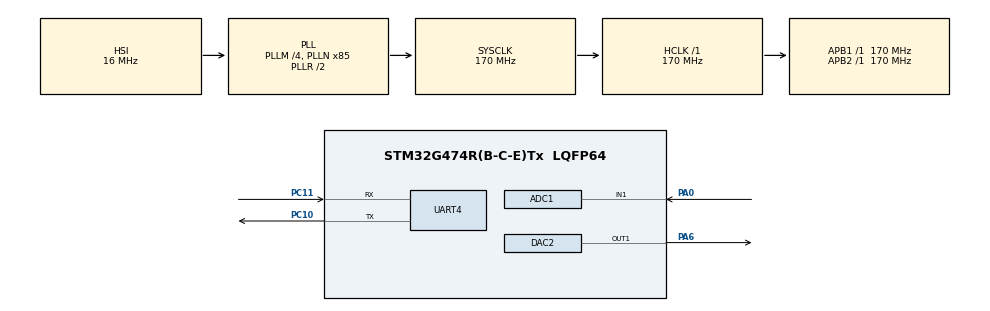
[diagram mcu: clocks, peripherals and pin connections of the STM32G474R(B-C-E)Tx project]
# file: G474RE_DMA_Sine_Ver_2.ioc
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ADC1.Channel-1\#ChannelRegularConversion=ADC_CHANNEL_1
ADC1.ContinuousConvMode=ENABLE
ADC1.DMAContinuousRequests=ENABLE
ADC1.ExternalTrigConv=ADC_EXTERNALTRIG_T2_TRGO
ADC1.NbrOfConversionFlag=1
ADC1.OffsetNumber-1\#ChannelRegularConversion=ADC_OFFSET_NONE
ADC1.Rank-1\#ChannelRegularConversion=1
ADC1.SamplingTime-1\#ChannelRegularConversion=ADC_SAMPLETIME_47CYCLES_5
ADC1.master=1
DAC2.DAC_Trigger_OUT1-DAC_OUT1_ExtAndInt=DAC_TRIGGER_T2_TRGO
Dma.ADC1.1.Direction=DMA_PERIPH_TO_MEMORY
Dma.ADC1.1.EventEnable=DISABLE
Dma.ADC1.1.Instance=DMA1_Channel2
Dma.ADC1.1.MemDataAlignment=DMA_MDATAALIGN_HALFWORD
Dma.ADC1.1.MemInc=DMA_MINC_ENABLE
Dma.ADC1.1.Mode=DMA_CIRCULAR
Dma.ADC1.1.PeriphDataAlignment=DMA_PDATAALIGN_HALFWORD
Dma.ADC1.1.PeriphInc=DMA_PINC_DISABLE
Dma.ADC1.1.Polarity=HAL_DMAMUX_REQ_GEN_RISING
Dma.ADC1.1.Priority=DMA_PRIORITY_MEDIUM
Dma.ADC1.1.RequestNumber=1
Dma.ADC1.1.SignalID=NONE
Dma.ADC1.1.SyncEnable=DISABLE
Dma.ADC1.1.SyncPolarity=HAL_DMAMUX_SYNC_NO_EVENT
Dma.ADC1.1.SyncRequestNumber=1
Dma.ADC1.1.SyncSignalID=NONE
Dma.DAC2_CH1.0.Direction=DMA_MEMORY_TO_PERIPH
Dma.DAC2_CH1.0.EventEnable=DISABLE
Dma.DAC2_CH1.0.Instance=DMA1_Channel1
Dma.DAC2_CH1.0.MemDataAlignment=DMA_MDATAALIGN_HALFWORD
Dma.DAC2_CH1.0.MemInc=DMA_MINC_ENABLE
Dma.DAC2_CH1.0.Mode=DMA_CIRCULAR
Dma.DAC2_CH1.0.PeriphDataAlignment=DMA_PDATAALIGN_WORD
Dma.DAC2_CH1.0.PeriphInc=DMA_PINC_DISABLE
Dma.DAC2_CH1.0.Polarity=HAL_DMAMUX_REQ_GEN_RISING
Dma.DAC2_CH1.0.Priority=DMA_PRIORITY_MEDIUM
Dma.DAC2_CH1.0.RequestNumber=1
Dma.DAC2_CH1.0.SignalID=NONE
Dma.DAC2_CH1.0.SyncEnable=DISABLE
Dma.DAC2_CH1.0.SyncPolarity=HAL_DMAMUX_SYNC_NO_EVENT
Dma.DAC2_CH1.0.SyncRequestNumber=1
Dma.DAC2_CH1.0.SyncSignalID=NONE
Dma.Request0=DAC2_CH1
Dma.Request1=ADC1
Mcu.Family=STM32G4
Mcu.Name=STM32G474R(B-C-E)Tx
Mcu.Package=LQFP64
NVIC.ADC1_2_IRQn=true\:0\:0\:false\:false\:true\:true\:true\:true
NVIC.DMA1_Channel1_IRQn=true\:0\:0\:false\:false\:true\:false\:true\:true
NVIC.DMA1_Channel2_IRQn=true\:0\:0\:false\:false\:true\:false\:true\:true
NVIC.PriorityGroup=NVIC_PRIORITYGROUP_4
PA0.Mode=IN1-Single-Ended
PA0.Signal=ADC1_IN1
PA13.Mode=Serial_Wire
PA13.Signal=SYS_JTMS-SWDIO
PA14.Mode=Serial_Wire
PA14.Signal=SYS_JTCK-SWCLK
PA6.Signal=COMP_DAC21_group
PC10.Mode=Asynchronous
PC10.Signal=UART4_TX
PC11.Mode=Asynchronous
PC11.Signal=UART4_RX
PC14-OSC32_IN.Mode=LSE-External-Oscillator
PC14-OSC32_IN.Signal=RCC_OSC32_IN
PC15-OSC32_OUT.Mode=LSE-External-Oscillator
PC15-OSC32_OUT.Signal=RCC_OSC32_OUT
PF0-OSC_IN.Mode=HSE-External-Oscillator
PF0-OSC_IN.Signal=RCC_OSC_IN
PF1-OSC_OUT.Mode=HSE-External-Oscillator
PF1-OSC_OUT.Signal=RCC_OSC_OUT
ProjectManager.HeapSize=0x200
ProjectManager.StackSize=0x400
ProjectManager.TargetToolchain=STM32CubeIDE
RCC.ADC12Freq_Value=170000000
RCC.ADC345Freq_Value=170000000
RCC.AHBFreq_Value=170000000
RCC.APB1Freq_Value=170000000
RCC.APB1TimFreq_Value=170000000
RCC.APB2Freq_Value=170000000
RCC.APB2TimFreq_Value=170000000
RCC.CortexFreq_Value=170000000
RCC.EXTERNAL_CLOCK_VALUE=12288000
RCC.HCLKFreq_Value=170000000
RCC.HSE_VALUE=8000000
RCC.HSI48_VALUE=48000000
RCC.HSI_VALUE=16000000
RCC.PLLM=RCC_PLLM_DIV4
RCC.PLLN=85
RCC.SYSCLKFreq_VALUE=170000000
RCC.SYSCLKSource=RCC_SYSCLKSOURCE_PLLCLK
RCC.USBFreq_Value=170000000
RCC.VCOOutputFreq_Value=340000000
SH.COMP_DAC21_group.0=DAC2_OUT1,DAC_OUT1_ExtAndInt
TIM2.PeriodNoDither=265
TIM2.Prescaler=15
TIM2.TIM_MasterOutputTrigger=TIM_TRGO_UPDATE
VP_SYS_VS_DBSignals.Mode=DisableDeadBatterySignals
VP_TIM2_VS_ClockSourceINT.Mode=Internal
board=custom

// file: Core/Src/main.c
/* USER CODE END Header */

#include "main.h"

/* USER CODE BEGIN Includes */
#include <stdint.h>
#include <stdio.h>
#include <math.h>
#include <string.h>
/* USER CODE END Includes */

/* USER CODE BEGIN PTD */
#define DAC_MAX       4095
#define SAMPLE_RATE   40000      // timer triggers per second (TIM2 TRGO) ~40kHz
#define BUFFER_LEN    200        // DAC DMA buffer length (even number)

/* AFSK tones */
#define TONE_MARK     1200.0     // Hz (MARK)
#define TONE_SPACE    2400.0     // Hz (SPACE)

/* ADC / Goertzel */
#define ADC_SAMPLES   64         // number of ADC samples per Goertzel window (choose ~32..128)
#define GOERTZEL_LEN  ADC_SAMPLES

/* Toggle period for demonstration */
#define TOGGLE_MS     1000       // toggle tone every 1000 ms so you can see both on scope

/* USER CODE END PTD */

uint16_t dac_buffer[BUFFER_LEN];            // DAC circular buffer (DMA)
uint16_t adc_buffer[ADC_SAMPLES];           // ADC circular buffer (DMA)

/* continuous-phase generator state */
volatile double phase = 0.0;
volatile double phase_inc = 0.0;            // set to MARK initially below

/* last Goertzel results (expose as volatile so CubeIDE Live Expression can read them) */
volatile double last_power_mark = 0.0;
volatile double last_power_space = 0.0;
volatile uint8_t detected_tone = 0xFF; // 1 = MARK, 0 = SPACE, 0xFF = undefined/noise
volatile uint8_t goertzel_ready_flag = 0;  // main loop reads and clears

/* Goertzel coefficients */
double coeff_mark = 0.0;
double coeff_space = 0.0;

/* UART4 printing buffer */
char uart_msg[80];

/* UART4 printing buffer */
char uart_msg[80];
/* USER CODE END PD */

/* USER CODE BEGIN PM */

/* prototypes */
void InitGoertzel(void);
uint8_t GoertzelDetect(uint16_t *samples, int N);
void FillDACHalf(int offset, int length);

/* USER CODE END PM */

ADC_HandleTypeDef hadc1;
DMA_HandleTypeDef hdma_adc1;

DAC_HandleTypeDef hdac2;
DMA_HandleTypeDef hdma_dac2_ch1;

TIM_HandleTypeDef htim2;

UART_HandleTypeDef huart4;

void SystemClock_Config(void);
static void MX_GPIO_Init(void);
static void MX_DMA_Init(void);
static void MX_TIM2_Init(void);
static void MX_DAC2_Init(void);
static void MX_ADC1_Init(void);
static void MX_UART4_Init(void);

/* USER CODE BEGIN 0 */

/* Fill a half of dac_buffer (offset can be 0 or BUFFER_LEN/2) in continuous-phase mode.
 This keeps phase continuous across calls. Must be called from DAC DMA callbacks. */
void FillDACHalf(int offset, int length) {
	// local copy of phase and phase_inc for speed (volatile updated)
	double p = phase;
	double inc = phase_inc;

	for (int i = 0; i < length; ++i) {
		double s = sin(p);
		uint16_t sample = (uint16_t) ((s + 1.0) * (DAC_MAX / 2.0));
		dac_buffer[offset + i] = sample;

		p += inc;
		if (p >= 2.0 * M_PI)
			p -= 2.0 * M_PI;
		if (p < 0.0)
			p += 2.0 * M_PI;
	}

	// write back the phase atomically (volatile)
	phase = p;
}

/* Goertzel init — compute 2*cos(omega) coefficients for each target tone */
void InitGoertzel(void) {
	double omega_mark = 2.0 * M_PI * (double) TONE_MARK / (double) SAMPLE_RATE;
	double omega_space = 2.0 * M_PI * (double) TONE_SPACE / (double) SAMPLE_RATE;
	coeff_mark = 2.0 * cos(omega_mark);
	coeff_space = 2.0 * cos(omega_space);
}

/* Run Goertzel on `N` samples and return 1 if MARK (1200 Hz) stronger, 0 if SPACE stronger.
 Also update last_power_mark / last_power_space for inspection. */
uint8_t GoertzelDetect(uint16_t *samples, int N) {
	double mean = 0.0;
	for (int i = 0; i < N; ++i)
		mean += samples[i];
	mean /= N;

	double s_prev_mark = 0.0, s_prev2_mark = 0.0;
	double s_prev_space = 0.0, s_prev2_space = 0.0;

	for (int i = 0; i < N; ++i) {
		double x = (double) samples[i] - mean; // simple DC removal

		double s_mark = x + coeff_mark * s_prev_mark - s_prev2_mark;
		s_prev2_mark = s_prev_mark;
		s_prev_mark = s_mark;

		double s_space = x + coeff_space * s_prev_space - s_prev2_space;
		s_prev2_space = s_prev_space;
		s_prev_space = s_space;
	}

	double power_mark = s_prev_mark * s_prev_mark + s_prev2_mark * s_prev2_mark
			- coeff_mark * s_prev_mark * s_prev2_mark;
	double power_space = s_prev_space * s_prev_space
			+ s_prev2_space * s_prev2_space
			- coeff_space * s_prev_space * s_prev2_space;

	// store for live inspection
	last_power_mark = power_mark;
	last_power_space = power_space;

	// simple thresholding: if both powers are very small treat as noise (skip)
	double total_power = power_mark + power_space;
	if (total_power < 1e6) { // threshold — tune for your signal level
		return 0xFF; // no reliable tone
	}
	return (power_mark > power_space) ? 1 : 0;
}

/* --------------------------------------------------------------------------
 DMA Callbacks for DAC (these are called by HAL when DMA half/full completes)
 We refill the half that just completed so the DMA always reads valid data.
 --------------------------------------------------------------------------*/
void HAL_DAC_ConvHalfCpltCallbackCh1(DAC_HandleTypeDef *hdac) {
	(void) hdac;
	// refill first half
	FillDACHalf(0, BUFFER_LEN / 2);
}

void HAL_DAC_ConvCpltCallbackCh1(DAC_HandleTypeDef *hdac) {
	(void) hdac;
	// refill second half
	FillDACHalf(BUFFER_LEN / 2, BUFFER_LEN / 2);
}

/* ADC DMA complete callback — process the full ADC buffer */
void HAL_ADC_ConvCpltCallback(ADC_HandleTypeDef *hadc) {
	(void) hadc;
	// Process the just-completed ADC buffer (adc_buffer)
	uint8_t tone = GoertzelDetect(adc_buffer, GOERTZEL_LEN);
	if (tone != 0xFF) {
		detected_tone = tone;
	} else {
		detected_tone = 0xFF;
	}
	// notify main loop (do not printf from here)
	goertzel_ready_flag = 1;
}

/* Safe putchar / printf redirection to UART4 (used in main loop only) */
int _write(int file, char *ptr, int len) {
	HAL_UART_Transmit(&huart4, (uint8_t*) ptr, len, HAL_MAX_DELAY);
	return len;
}

/* USER CODE END 0 */

int main(void) {

	/* MCU Configuration--------------------------------------------------------*/

	/* Reset of all peripherals, Initializes the Flash interface and the Systick. */
	HAL_Init();

	/* Configure the system clock */
	SystemClock_Config();

	/* Initialize all configured peripherals */
	MX_GPIO_Init();
	MX_DMA_Init();
	MX_TIM2_Init();
	MX_DAC2_Init();
	MX_ADC1_Init();
	MX_UART4_Init();
	/* USER CODE BEGIN 2 */
	/* USER CODE BEGIN 2 */

	phase_inc = 2.0 * M_PI * TONE_MARK / (double) SAMPLE_RATE;
	FillDACHalf(0, BUFFER_LEN / 2);
	FillDACHalf(BUFFER_LEN / 2, BUFFER_LEN / 2);

	/* start timer (triggers DAC + ADC), start DAC DMA circular and ADC DMA circular */
	HAL_TIM_Base_Start(&htim2);

	HAL_DAC_Start_DMA(&hdac2, DAC_CHANNEL_1, (uint32_t*) dac_buffer, BUFFER_LEN,
	DAC_ALIGN_12B_R);

	/* Start ADC DMA circular: buffer length ADC_SAMPLES */
	HAL_ADC_Start_DMA(&hadc1, (uint32_t*) adc_buffer, ADC_SAMPLES);

	/* Goertzel constants */
	InitGoertzel();

	/* notify via UART that system started */
	snprintf(uart_msg, sizeof(uart_msg),
			"AFSK generator started: MARK=%dHz, SPACE=%dHz\r\n",
			(int) TONE_MARK, (int) TONE_SPACE);
	HAL_UART_Transmit(&huart4, (uint8_t*) uart_msg, strlen(uart_msg),
	HAL_MAX_DELAY);

	uint32_t last_toggle = HAL_GetTick();

	/* USER CODE END 2 */

	/* Infinite loop */
	while (1) {

		/* USER CODE BEGIN 3 */
		uint32_t now = HAL_GetTick();
		if ((now - last_toggle) >= TOGGLE_MS) {
			last_toggle = now;
			if (phase_inc == (2.0 * M_PI * TONE_MARK / (double) SAMPLE_RATE)) {
				phase_inc = 2.0 * M_PI * TONE_SPACE / (double) SAMPLE_RATE;
				snprintf(uart_msg, sizeof(uart_msg),
						"Switch -> SPACE (%.0f Hz)\r\n", TONE_SPACE);
			} else {
				phase_inc = 2.0 * M_PI * TONE_MARK / (double) SAMPLE_RATE;
				snprintf(uart_msg, sizeof(uart_msg),
						"Switch -> MARK (%.0f Hz)\r\n", TONE_MARK);
			}
			HAL_UART_Transmit(&huart4, (uint8_t*) uart_msg, strlen(uart_msg),
			HAL_MAX_DELAY);
		}

		/* when Goertzel processed new block, print values (done in main loop to keep IRQ fast) */
		if (goertzel_ready_flag) {
			goertzel_ready_flag = 0;

			// detected_tone can be 1 (MARK) or 0 (SPACE) or 0xFF (noise)
			if (detected_tone == 1) {
				snprintf(uart_msg, sizeof(uart_msg),
						"DET: MARK  Pm=%.0f Ps=%.0f\r\n", last_power_mark,
						last_power_space);
			} else if (detected_tone == 0) {
				snprintf(uart_msg, sizeof(uart_msg),
						"DET: SPACE Pm=%.0f Ps=%.0f\r\n", last_power_mark,
						last_power_space);
			} else {
				snprintf(uart_msg, sizeof(uart_msg),
						"DET: NOISE Pm=%.0f Ps=%.0f\r\n", last_power_mark,
						last_power_space);
			}
			HAL_UART_Transmit(&huart4, (uint8_t*) uart_msg, strlen(uart_msg),
			HAL_MAX_DELAY);
		}

		/* small sleep to reduce CPU usage — DAC and ADC are driven by DMA/TIM */
		HAL_Delay(1);
	}

}

/* USER CODE END 3 */

void SystemClock_Config(void) {
	RCC_OscInitTypeDef RCC_OscInitStruct = { 0 };
	RCC_ClkInitTypeDef RCC_ClkInitStruct = { 0 };

	/** Configure the main internal regulator output voltage
	 */
	HAL_PWREx_ControlVoltageScaling(PWR_REGULATOR_VOLTAGE_SCALE1_BOOST);

	/** Initializes the RCC Oscillators according to the specified parameters
	 * in the RCC_OscInitTypeDef structure.
	 */
	RCC_OscInitStruct.OscillatorType = RCC_OSCILLATORTYPE_HSI;
	RCC_OscInitStruct.HSIState = RCC_HSI_ON;
	RCC_OscInitStruct.HSICalibrationValue = RCC_HSICALIBRATION_DEFAULT;
	RCC_OscInitStruct.PLL.PLLState = RCC_PLL_ON;
	RCC_OscInitStruct.PLL.PLLSource = RCC_PLLSOURCE_HSI;
	RCC_OscInitStruct.PLL.PLLM = RCC_PLLM_DIV4;
	RCC_OscInitStruct.PLL.PLLN = 85;
	RCC_OscInitStruct.PLL.PLLP = RCC_PLLP_DIV2;
	RCC_OscInitStruct.PLL.PLLQ = RCC_PLLQ_DIV2;
	RCC_OscInitStruct.PLL.PLLR = RCC_PLLR_DIV2;
	if (HAL_RCC_OscConfig(&RCC_OscInitStruct) != HAL_OK) {
		Error_Handler();
	}

	/** Initializes the CPU, AHB and APB buses clocks
	 */
	RCC_ClkInitStruct.ClockType = RCC_CLOCKTYPE_HCLK | RCC_CLOCKTYPE_SYSCLK
			| RCC_CLOCKTYPE_PCLK1 | RCC_CLOCKTYPE_PCLK2;
	RCC_ClkInitStruct.SYSCLKSource = RCC_SYSCLKSOURCE_PLLCLK;
	RCC_ClkInitStruct.AHBCLKDivider = RCC_SYSCLK_DIV1;
	RCC_ClkInitStruct.APB1CLKDivider = RCC_HCLK_DIV1;
	RCC_ClkInitStruct.APB2CLKDivider = RCC_HCLK_DIV1;

	if (HAL_RCC_ClockConfig(&RCC_ClkInitStruct, FLASH_LATENCY_4) != HAL_OK) {
		Error_Handler();
	}
}

static void MX_ADC1_Init(void) {

	ADC_MultiModeTypeDef multimode = { 0 };
	ADC_ChannelConfTypeDef sConfig = { 0 };

	/** Common config
	 */
	hadc1.Instance = ADC1;
	hadc1.Init.ClockPrescaler = ADC_CLOCK_SYNC_PCLK_DIV4;
	hadc1.Init.Resolution = ADC_RESOLUTION_12B;
	hadc1.Init.DataAlign = ADC_DATAALIGN_RIGHT;
	hadc1.Init.GainCompensation = 0;
	hadc1.Init.ScanConvMode = ADC_SCAN_DISABLE;
	hadc1.Init.EOCSelection = ADC_EOC_SINGLE_CONV;
	hadc1.Init.LowPowerAutoWait = DISABLE;
	hadc1.Init.ContinuousConvMode = ENABLE;
	hadc1.Init.NbrOfConversion = 1;
	hadc1.Init.DiscontinuousConvMode = DISABLE;
	hadc1.Init.ExternalTrigConv = ADC_EXTERNALTRIG_T2_TRGO;
	hadc1.Init.ExternalTrigConvEdge = ADC_EXTERNALTRIGCONVEDGE_RISING;
	hadc1.Init.DMAContinuousRequests = ENABLE;
	hadc1.Init.Overrun = ADC_OVR_DATA_PRESERVED;
	hadc1.Init.OversamplingMode = DISABLE;
	if (HAL_ADC_Init(&hadc1) != HAL_OK) {
		Error_Handler();
	}

	/** Configure the ADC multi-mode
	 */
	multimode.Mode = ADC_MODE_INDEPENDENT;
	if (HAL_ADCEx_MultiModeConfigChannel(&hadc1, &multimode) != HAL_OK) {
		Error_Handler();
	}

	/** Configure Regular Channel
	 */
	sConfig.Channel = ADC_CHANNEL_1;
	sConfig.Rank = ADC_REGULAR_RANK_1;
	sConfig.SamplingTime = ADC_SAMPLETIME_47CYCLES_5;
	sConfig.SingleDiff = ADC_SINGLE_ENDED;
	sConfig.OffsetNumber = ADC_OFFSET_NONE;
	sConfig.Offset = 0;
	if (HAL_ADC_ConfigChannel(&hadc1, &sConfig) != HAL_OK) {
		Error_Handler();
	}

}

static void MX_DAC2_Init(void) {

	DAC_ChannelConfTypeDef sConfig = { 0 };

	/** DAC Initialization
	 */
	hdac2.Instance = DAC2;
	if (HAL_DAC_Init(&hdac2) != HAL_OK) {
		Error_Handler();
	}

	/** DAC channel OUT1 config
	 */
	sConfig.DAC_HighFrequency = DAC_HIGH_FREQUENCY_INTERFACE_MODE_AUTOMATIC;
	sConfig.DAC_DMADoubleDataMode = DISABLE;
	sConfig.DAC_SignedFormat = DISABLE;
	sConfig.DAC_SampleAndHold = DAC_SAMPLEANDHOLD_DISABLE;
	sConfig.DAC_Trigger = DAC_TRIGGER_T2_TRGO;
	sConfig.DAC_Trigger2 = DAC_TRIGGER_NONE;
	sConfig.DAC_OutputBuffer = DAC_OUTPUTBUFFER_ENABLE;
	sConfig.DAC_ConnectOnChipPeripheral = DAC_CHIPCONNECT_BOTH;
	sConfig.DAC_UserTrimming = DAC_TRIMMING_FACTORY;
	if (HAL_DAC_ConfigChannel(&hdac2, &sConfig, DAC_CHANNEL_1) != HAL_OK) {
		Error_Handler();
	}

}

static void MX_TIM2_Init(void) {

	TIM_ClockConfigTypeDef sClockSourceConfig = { 0 };
	TIM_MasterConfigTypeDef sMasterConfig = { 0 };

	htim2.Instance = TIM2;
	htim2.Init.Prescaler = 15;
	htim2.Init.CounterMode = TIM_COUNTERMODE_UP;
	htim2.Init.Period = 265;
	htim2.Init.ClockDivision = TIM_CLOCKDIVISION_DIV1;
	htim2.Init.AutoReloadPreload = TIM_AUTORELOAD_PRELOAD_DISABLE;
	if (HAL_TIM_Base_Init(&htim2) != HAL_OK) {
		Error_Handler();
	}
	sClockSourceConfig.ClockSource = TIM_CLOCKSOURCE_INTERNAL;
	if (HAL_TIM_ConfigClockSource(&htim2, &sClockSourceConfig) != HAL_OK) {
		Error_Handler();
	}
	sMasterConfig.MasterOutputTrigger = TIM_TRGO_UPDATE;
	sMasterConfig.MasterSlaveMode = TIM_MASTERSLAVEMODE_DISABLE;
	if (HAL_TIMEx_MasterConfigSynchronization(&htim2, &sMasterConfig)
			!= HAL_OK) {
		Error_Handler();
	}

}

static void MX_UART4_Init(void) {

	huart4.Instance = UART4;
	huart4.Init.BaudRate = 115200;
	huart4.Init.WordLength = UART_WORDLENGTH_8B;
	huart4.Init.StopBits = UART_STOPBITS_1;
	huart4.Init.Parity = UART_PARITY_NONE;
	huart4.Init.Mode = UART_MODE_TX_RX;
	huart4.Init.HwFlowCtl = UART_HWCONTROL_NONE;
	huart4.Init.OverSampling = UART_OVERSAMPLING_16;
	huart4.Init.OneBitSampling = UART_ONE_BIT_SAMPLE_DISABLE;
	huart4.Init.ClockPrescaler = UART_PRESCALER_DIV1;
	huart4.AdvancedInit.AdvFeatureInit = UART_ADVFEATURE_NO_INIT;
	if (HAL_UART_Init(&huart4) != HAL_OK) {
		Error_Handler();
	}
	if (HAL_UARTEx_SetTxFifoThreshold(&huart4, UART_TXFIFO_THRESHOLD_1_8)
			!= HAL_OK) {
		Error_Handler();
	}
	if (HAL_UARTEx_SetRxFifoThreshold(&huart4, UART_RXFIFO_THRESHOLD_1_8)
			!= HAL_OK) {
		Error_Handler();
	}
	if (HAL_UARTEx_DisableFifoMode(&huart4) != HAL_OK) {
		Error_Handler();
	}

}

static void MX_DMA_Init(void) {

	/* DMA controller clock enable */
	__HAL_RCC_DMAMUX1_CLK_ENABLE();
	__HAL_RCC_DMA1_CLK_ENABLE();

	/* DMA interrupt init */
	/* DMA1_Channel1_IRQn interrupt configuration */
	HAL_NVIC_SetPriority(DMA1_Channel1_IRQn, 0, 0);
	HAL_NVIC_EnableIRQ(DMA1_Channel1_IRQn);
	/* DMA1_Channel2_IRQn interrupt configuration */
	HAL_NVIC_SetPriority(DMA1_Channel2_IRQn, 0, 0);
	HAL_NVIC_EnableIRQ(DMA1_Channel2_IRQn);

}

static void MX_GPIO_Init(void) {

	/* GPIO Ports Clock Enable */
	__HAL_RCC_GPIOC_CLK_ENABLE();
	__HAL_RCC_GPIOF_CLK_ENABLE();
	__HAL_RCC_GPIOA_CLK_ENABLE();

}

void Error_Handler(void) {
	__disable_irq();
	while (1) {
	}
}
